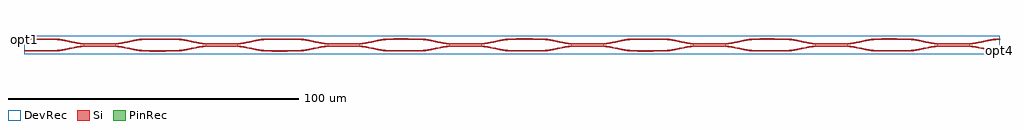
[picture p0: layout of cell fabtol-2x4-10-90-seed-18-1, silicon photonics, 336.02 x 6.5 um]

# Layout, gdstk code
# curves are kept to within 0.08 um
import gdstk
lib = gdstk.Library(unit=1e-6, precision=1e-09)
def R(c, l, rs):  # rectangles x0, y0, x1, y1
    for r in rs: c.add(gdstk.rectangle(r[:2], r[2:], *l))
def P(c, l, *ps):  # polygons
    for p in ps: c.add(gdstk.Polygon(p, *l))
Si = (1, 0)
PinRec = (1, 10)
DevRec = (68, 0)

layer_3_0_phase_sec_2_46 = lib.new_cell('layer-3_0_phase_sec_2$46')
P(layer_3_0_phase_sec_2_46, Si, [(3.872,-0.246),(0,-0.225),(0,0.225),(10,0.225),(10,-0.225)])

layer_3_0_phase_sec_1_46 = lib.new_cell('layer-3_0_phase_sec_1$46')
P(layer_3_0_phase_sec_1_46, Si, [(3.7,-0.228),(0,-0.225),(0,0.225),(10,0.225),(10,-0.225)])

layer_3_0_phase_sec_0_46 = lib.new_cell('layer-3_0_phase_sec_0$46')
P(layer_3_0_phase_sec_0_46, Si, [(1.244,-0.249),(0,-0.225),(0,0.225),(10,0.225),(10,-0.225)])

layer_0_0_phase_sec_0_46 = lib.new_cell('layer-0_0_phase_sec_0$46')
P(layer_0_0_phase_sec_0_46, Si, [(3.947,-0.239),(0,-0.225),(0,0.225),(10,0.225),(10,-0.225)])

layer_0_0_phase_sec_1_46 = lib.new_cell('layer-0_0_phase_sec_1$46')
P(layer_0_0_phase_sec_1_46, Si, [(3.16,-0.227),(0,-0.225),(0,0.225),(10,0.225),(10,-0.225)])

layer_2_0_phase_sec_3_46 = lib.new_cell('layer-2_0_phase_sec_3$46')
P(layer_2_0_phase_sec_3_46, Si, [(2.651,-0.244),(0,-0.225),(0,0.225),(10,0.225),(10,-0.225)])

dc_arm_down_46 = lib.new_cell('dc_arm_down$46')
R(dc_arm_down_46, Si, [(12,-0.55,20,-0.1)])
P(dc_arm_down_46, Si, [(32,-2.225),(30.861,-2.188),(29.344,-2.033),(22.966,-0.793),(21.481,-0.613),(20,-0.55),(20,-0.1),(21.139,-0.137),(22.656,-0.292),(29.034,-1.532),(30.519,-1.712),(32,-1.775)],
  [(0,-2.225),(0,-1.775),(1.481,-1.712),(2.966,-1.532),(9.344,-0.292),(10.861,-0.137),(12,-0.1),(12,-0.55),(10.519,-0.613),(9.034,-0.793),(2.656,-2.033),(1.139,-2.188)])

dc_arm_up_46 = lib.new_cell('dc_arm_up$46')
R(dc_arm_up_46, Si, [(12,0.1,20,0.55)])
P(dc_arm_up_46, Si, [(20,0.1),(20,0.55),(21.481,0.613),(22.966,0.793),(29.344,2.033),(30.861,2.188),(32,2.225),(32,1.775),(30.519,1.712),(29.034,1.532),(22.656,0.292),(21.139,0.137)],
  [(12,0.1),(10.861,0.137),(9.344,0.292),(2.966,1.532),(1.481,1.712),(0,1.775),(0,2.225),(1.139,2.188),(2.656,2.033),(9.034,0.793),(10.519,0.613),(12,0.55)])

dc_46 = lib.new_cell('dc$46')
dc_46.add(gdstk.Reference(dc_arm_down_46, (0,0)))
dc_46.add(gdstk.Reference(dc_arm_up_46, (0,0)))

layer_0_0_phase_sec_2_46 = lib.new_cell('layer-0_0_phase_sec_2$46')
P(layer_0_0_phase_sec_2_46, Si, [(2.749,-0.233),(0,-0.225),(0,0.225),(10,0.225),(10,-0.225)])

layer_0_0_phase_sec_3_46 = lib.new_cell('layer-0_0_phase_sec_3$46')
P(layer_0_0_phase_sec_3_46, Si, [(2.685,-0.246),(0,-0.225),(0,0.225),(10,0.225),(10,-0.225)])

layer_1_0_phase_sec_0_46 = lib.new_cell('layer-1_0_phase_sec_0$46')
P(layer_1_0_phase_sec_0_46, Si, [(2.088,-0.236),(0,-0.225),(0,0.225),(10,0.225),(10,-0.225)])

layer_1_0_phase_sec_1_46 = lib.new_cell('layer-1_0_phase_sec_1$46')
P(layer_1_0_phase_sec_1_46, Si, [(2.647,-0.24),(0,-0.225),(0,0.225),(10,0.225),(10,-0.225)])

layer_1_0_phase_sec_2_46 = lib.new_cell('layer-1_0_phase_sec_2$46')
P(layer_1_0_phase_sec_2_46, Si, [(6.229,-0.242),(0,-0.225),(0,0.225),(10,0.225),(10,-0.225)])

layer_1_0_phase_sec_3_46 = lib.new_cell('layer-1_0_phase_sec_3$46')
P(layer_1_0_phase_sec_3_46, Si, [(1.23,-0.235),(0,-0.225),(0,0.225),(10,0.225),(10,-0.225)])

layer_3_0_phase_sec_3_46 = lib.new_cell('layer-3_0_phase_sec_3$46')
P(layer_3_0_phase_sec_3_46, Si, [(6.003,-0.233),(0,-0.225),(0,0.225),(10,0.225),(10,-0.225)])

layer_2_0_phase_sec_0_46 = lib.new_cell('layer-2_0_phase_sec_0$46')
P(layer_2_0_phase_sec_0_46, Si, [(2.875,-0.25),(0,-0.225),(0,0.225),(10,0.225),(10,-0.225)])

layer_2_0_phase_sec_1_46 = lib.new_cell('layer-2_0_phase_sec_1$46')
P(layer_2_0_phase_sec_1_46, Si, [(1.534,-0.23),(0,-0.225),(0,0.225),(10,0.225),(10,-0.225)])

layer_2_0_phase_sec_2_46 = lib.new_cell('layer-2_0_phase_sec_2$46')
P(layer_2_0_phase_sec_2_46, Si, [(1.563,-0.235),(0,-0.225),(0,0.225),(10,0.225),(10,-0.225)])

fabtol_2x4_10_90_seed_18 = lib.new_cell('fabtol-2x4-10-90-seed-18-1')
R(fabtol_2x4_10_90_seed_18, DevRec, [(0,-1,336,5.496)])
fabtol_2x4_10_90_seed_18.add(gdstk.FlexPath([(335.99,0.246),(336.01,0.246)], 0.45, ends="flush", simple_path=True, layer=1, datatype=10))  # PinRec
fabtol_2x4_10_90_seed_18.add(gdstk.FlexPath([(335.99,4.246),(336.01,4.246)], 0.45, ends="flush", simple_path=True, layer=1, datatype=10))  # PinRec
fabtol_2x4_10_90_seed_18.add(gdstk.FlexPath([(0.01,4.246),(-0.01,4.246)], 0.45, ends="flush", simple_path=True, layer=1, datatype=10))  # PinRec
fabtol_2x4_10_90_seed_18.add(gdstk.Reference(layer_3_0_phase_sec_2_46, (294,4.246)))
fabtol_2x4_10_90_seed_18.add(gdstk.Reference(layer_3_0_phase_sec_1_46, (252,0.246)))
fabtol_2x4_10_90_seed_18.add(gdstk.Reference(layer_3_0_phase_sec_0_46, (252,4.246)))
fabtol_2x4_10_90_seed_18.add(gdstk.Reference(layer_0_0_phase_sec_0_46, (0,4.246)))
fabtol_2x4_10_90_seed_18.add(gdstk.Reference(layer_0_0_phase_sec_1_46, (0,0.246)))
fabtol_2x4_10_90_seed_18.add(gdstk.Reference(layer_2_0_phase_sec_3_46, (210,0.246)))
fabtol_2x4_10_90_seed_18.add(gdstk.Reference(dc_46, (10,2.246)))
fabtol_2x4_10_90_seed_18.add(gdstk.Reference(dc_46, (52,2.246)))
fabtol_2x4_10_90_seed_18.add(gdstk.Reference(dc_46, (94,2.246)))
fabtol_2x4_10_90_seed_18.add(gdstk.Reference(dc_46, (136,2.246)))
fabtol_2x4_10_90_seed_18.add(gdstk.Reference(dc_46, (178,2.246)))
fabtol_2x4_10_90_seed_18.add(gdstk.Reference(dc_46, (220,2.246)))
fabtol_2x4_10_90_seed_18.add(gdstk.Reference(dc_46, (262,2.246)))
fabtol_2x4_10_90_seed_18.add(gdstk.Reference(dc_46, (304,2.246)))
fabtol_2x4_10_90_seed_18.add(gdstk.Reference(layer_0_0_phase_sec_2_46, (42,4.246)))
fabtol_2x4_10_90_seed_18.add(gdstk.Reference(layer_0_0_phase_sec_3_46, (42,0.246)))
fabtol_2x4_10_90_seed_18.add(gdstk.Reference(layer_1_0_phase_sec_0_46, (84,4.246)))
fabtol_2x4_10_90_seed_18.add(gdstk.Reference(layer_1_0_phase_sec_1_46, (84,0.246)))
fabtol_2x4_10_90_seed_18.add(gdstk.Reference(layer_1_0_phase_sec_2_46, (126,4.246)))
fabtol_2x4_10_90_seed_18.add(gdstk.Reference(layer_1_0_phase_sec_3_46, (126,0.246)))
fabtol_2x4_10_90_seed_18.add(gdstk.Reference(layer_3_0_phase_sec_3_46, (294,0.246)))
fabtol_2x4_10_90_seed_18.add(gdstk.Reference(layer_2_0_phase_sec_0_46, (168,4.246)))
fabtol_2x4_10_90_seed_18.add(gdstk.Reference(layer_2_0_phase_sec_1_46, (168,0.246)))
fabtol_2x4_10_90_seed_18.add(gdstk.Reference(layer_2_0_phase_sec_2_46, (210,4.246)))
fabtol_2x4_10_90_seed_18.add(gdstk.Label('opt4', (336,0.246), layer=1, texttype=10))
fabtol_2x4_10_90_seed_18.add(gdstk.Label('opt3', (336,4.246), layer=1, texttype=10))
fabtol_2x4_10_90_seed_18.add(gdstk.Label('opt1', (0,4.246), layer=1, texttype=10))

lib.write_gds('fabtol-2x4-10-90-seed-18-1.gds')
